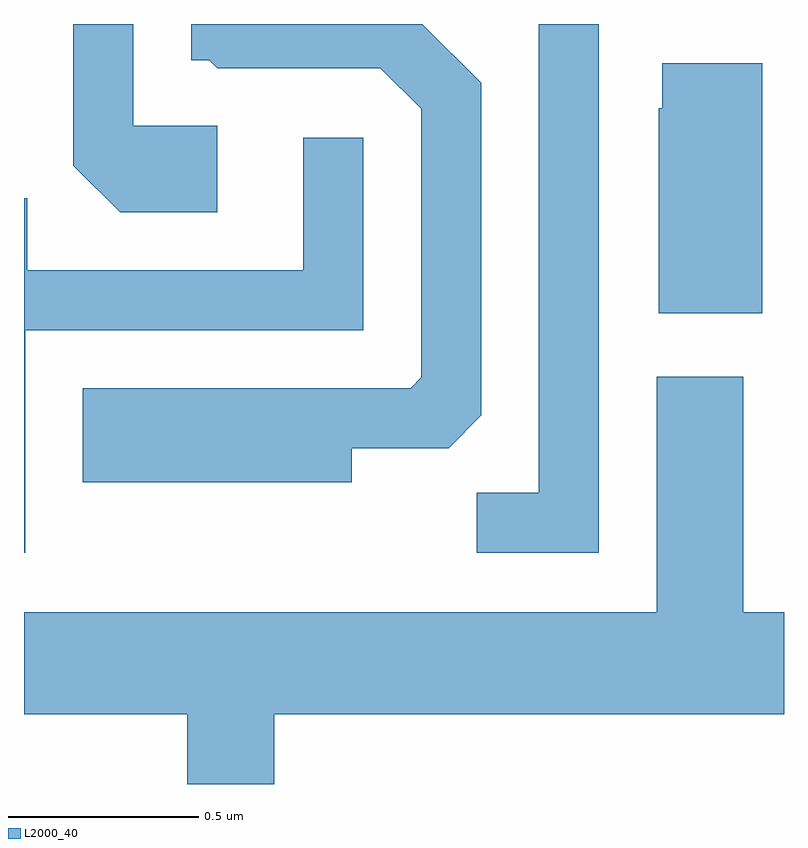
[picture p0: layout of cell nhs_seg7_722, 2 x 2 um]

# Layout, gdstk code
import gdstk
lib = gdstk.Library(unit=1e-6, precision=1e-09)
def P(c, l, *ps):  # polygons
    for p in ps: c.add(gdstk.Polygon(p, *l))
L2000_40 = (2000, 40)

nhs_seg7_722 = lib.new_cell('nhs_seg7_722')
P(nhs_seg7_722, L2000_40, [(191.119,1706.984),(190.899,1706.984),(190.899,1707.252),(190.741,1707.252),(190.741,1706.879),(190.864,1706.756),(191.119,1706.756)],
  [(192.124,1707.252),(191.966,1707.252),(191.966,1706.019),(191.803,1706.019),(191.803,1705.861),(192.124,1705.861)],
  [(191.474,1706.136),(191.729,1706.136),(191.814,1706.222),(191.814,1707.097),(191.659,1707.252),(191.051,1707.252),(191.051,1707.156),(191.099,1707.156),(191.119,1707.136),(191.549,1707.136),(191.656,1707.029),(191.656,1706.322),(191.629,1706.294),(190.766,1706.294),(190.766,1706.046),(191.474,1706.046)],
  [(192.554,1707.149),(192.291,1707.149),(192.291,1707.03),(192.281,1707.03),(192.281,1706.491),(192.554,1706.491)],
  [(190.614,1706.446),(191.504,1706.446),(191.504,1706.953),(191.346,1706.953),(191.346,1706.604),(190.619,1706.604),(190.619,1706.793),(190.611,1706.793),(190.611,1705.861),(190.614,1705.861)],
  [(191.269,1705.436),(192.611,1705.436),(192.611,1705.704),(192.504,1705.704),(192.504,1706.324),(192.276,1706.324),(192.276,1705.704),(190.611,1705.704),(190.611,1705.436),(191.041,1705.436),(191.041,1705.252),(191.269,1705.252)])

lib.write_gds('nhs_seg7_722.gds')
